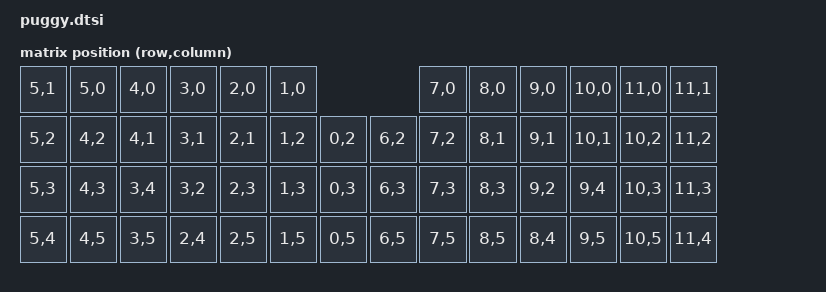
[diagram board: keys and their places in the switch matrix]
#include <dt-bindings/zmk/matrix_transform.h>

#include "puggy-layouts.dtsi"

#define ENCODER_STEPS 48

/ {
    chosen {
        zmk,kscan = &kscan0;
        zmk,physical-layout = &default_layout;
    };

    kscan0: kscan {
        compatible = "zmk,kscan-gpio-charlieplex";
    };

    left_encoder1: left_encoder_1 {
        compatible = "alps,ec11";
        steps = <ENCODER_STEPS>;
        status = "disabled";
    };

    left_encoder2: left_encoder_2 {
        compatible = "alps,ec11";
        steps = <ENCODER_STEPS>;
        status = "disabled";
    };

    right_encoder1: right_encoder_1 {
        compatible = "alps,ec11";
        steps = <ENCODER_STEPS>;
        status = "disabled";
    };

    right_encoder2: right_encoder_2 {
        compatible = "alps,ec11";
        steps = <ENCODER_STEPS>;
        status = "disabled";
    };

    sensors: sensors {
        compatible = "zmk,keymap-sensors";
        sensors = <
            &left_encoder1
            &left_encoder2
            &right_encoder1
            &right_encoder2
        >;
        triggers-per-rotation = <24>;
    };

    default_transform: matrix_transform {
        compatible = "zmk,matrix-transform";
        columns = <12>;
        rows = <6>;
        map = <
            // Swap row/col indexes from the schematic
            // Right-side: rows are offset by +6
            // --- left ---                                                                 --- right ---
            RC( 5,  1) RC( 5,  0) RC( 4,  0) RC( 3,  0) RC( 2,  0) RC( 1,  0)                          RC( 7,  0) RC( 8,  0) RC( 9,  0) RC(10,  0) RC(11,  0) RC(11,  1)
            RC( 5,  2) RC( 4,  2) RC( 4,  1) RC( 3,  1) RC( 2,  1) RC( 1,  2) RC( 0,  2)    RC( 6,  2) RC( 7,  2) RC( 8,  1) RC( 9,  1) RC(10,  1) RC(10,  2) RC(11,  2)
            RC( 5,  3) RC( 4,  3) RC( 3,  4) RC( 3,  2) RC( 2,  3) RC( 1,  3) RC( 0,  3)    RC( 6,  3) RC( 7,  3) RC( 8,  3) RC( 9,  2) RC( 9,  4) RC(10,  3) RC(11,  3)
            RC( 5,  4) RC( 4,  5) RC( 3,  5) RC( 2,  4) RC( 2,  5) RC( 1,  5) RC( 0,  5)    RC( 6,  5) RC( 7,  5) RC( 8,  5) RC( 8,  4) RC( 9,  5) RC(10,  5) RC(11,  4)
        >;
    };
};

/ {
    chg_stat: chg_stat {
        compatible = "custom,chg-stat";
        status = "okay";
        gpios = <&gpio0 17 GPIO_ACTIVE_LOW>;
    };
};
